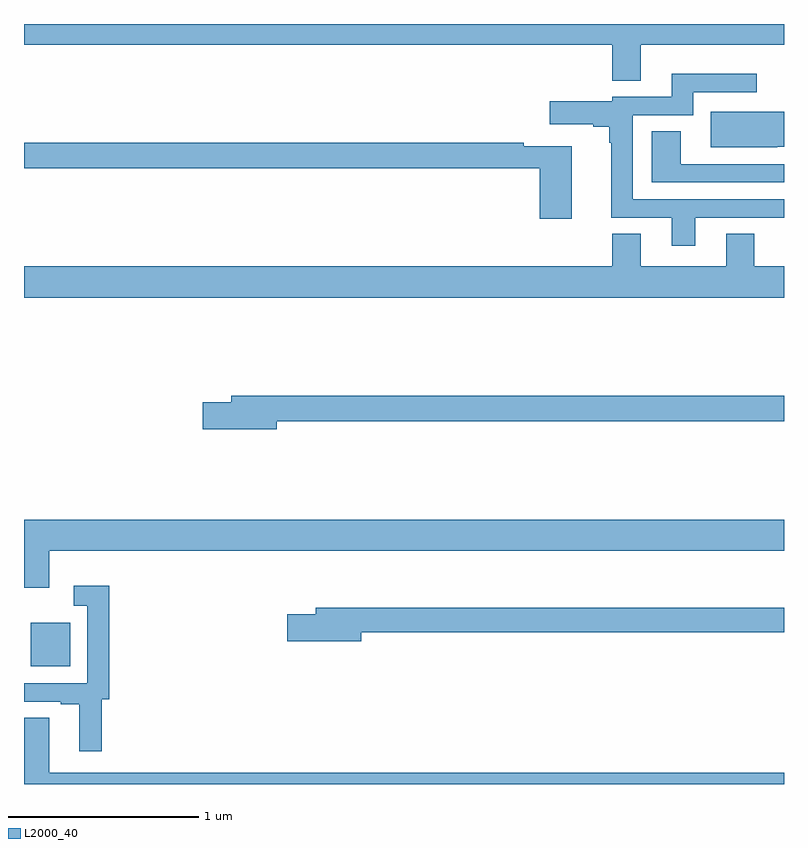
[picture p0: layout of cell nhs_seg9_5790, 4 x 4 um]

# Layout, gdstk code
import gdstk
lib = gdstk.Library(unit=1e-6, precision=1e-09)
def R(c, l, rs):  # rectangles x0, y0, x1, y1
    for r in rs: c.add(gdstk.rectangle(r[:2], r[2:], *l))
def P(c, l, *ps):  # polygons
    for p in ps: c.add(gdstk.Polygon(p, *l))
L2000_40 = (2000, 40)

nhs_seg9_5790 = lib.new_cell('nhs_seg9_5790')
R(nhs_seg9_5790, L2000_40, [(447.035,1221.119,447.244,1221.349)])
P(nhs_seg9_5790, L2000_40, [(450.247,1224.392),(451,1224.392),(451,1224.5),(447,1224.5),(447,1224.392),(450.095,1224.392),(450.095,1224.202),(450.247,1224.202)],
  [(450.532,1223.481),(451,1223.481),(451,1223.577),(450.205,1223.577),(450.205,1224.021),(450.523,1224.021),(450.523,1224.141),(450.856,1224.141),(450.856,1224.238),(450.41,1224.238),(450.41,1224.117),(450.096,1224.117),(450.096,1224.094),(449.766,1224.094),(449.766,1223.972),(449.996,1223.972),(449.996,1223.96),(450.08,1223.96),(450.08,1223.876),(450.092,1223.876),(450.092,1223.481),(450.41,1223.481),(450.41,1223.334),(450.532,1223.334)],
  [(450.965,1223.853),(451,1223.853),(451,1224.037),(450.614,1224.037),(450.614,1223.852),(450.965,1223.852)],
  [(451,1223.763),(450.457,1223.763),(450.457,1223.935),(450.305,1223.935),(450.305,1223.667),(451,1223.667)],
  [(449.884,1223.856),(449.63,1223.856),(449.63,1223.876),(447,1223.876),(447,1223.74),(449.714,1223.74),(449.714,1223.475),(449.884,1223.475)],
  [(451,1223.224),(450.843,1223.224),(450.843,1223.396),(450.695,1223.396),(450.695,1223.224),(450.247,1223.224),(450.247,1223.396),(450.095,1223.396),(450.095,1223.224),(447,1223.224),(447,1223.06),(451,1223.06)],
  [(448.33,1222.408),(451,1222.408),(451,1222.544),(448.091,1222.544),(448.091,1222.508),(447.942,1222.508),(447.942,1222.366),(448.33,1222.366)],
  [(447.133,1221.728),(451,1221.728),(451,1221.892),(447,1221.892),(447,1221.534),(447.133,1221.534)],
  [(447.409,1220.946),(447.449,1220.946),(447.449,1221.544),(447.261,1221.544),(447.261,1221.438),(447.333,1221.438),(447.333,1221.03),(447,1221.03),(447,1220.934),(447.194,1220.934),(447.194,1220.919),(447.29,1220.919),(447.29,1220.673),(447.409,1220.673)],
  [(448.774,1221.298),(451,1221.298),(451,1221.427),(448.535,1221.427),(448.535,1221.393),(448.386,1221.393),(448.386,1221.251),(448.774,1221.251)],
  [(451,1220.56),(447.133,1220.56),(447.133,1220.849),(447,1220.849),(447,1220.5),(451,1220.5)])

lib.write_gds('nhs_seg9_5790.gds')
